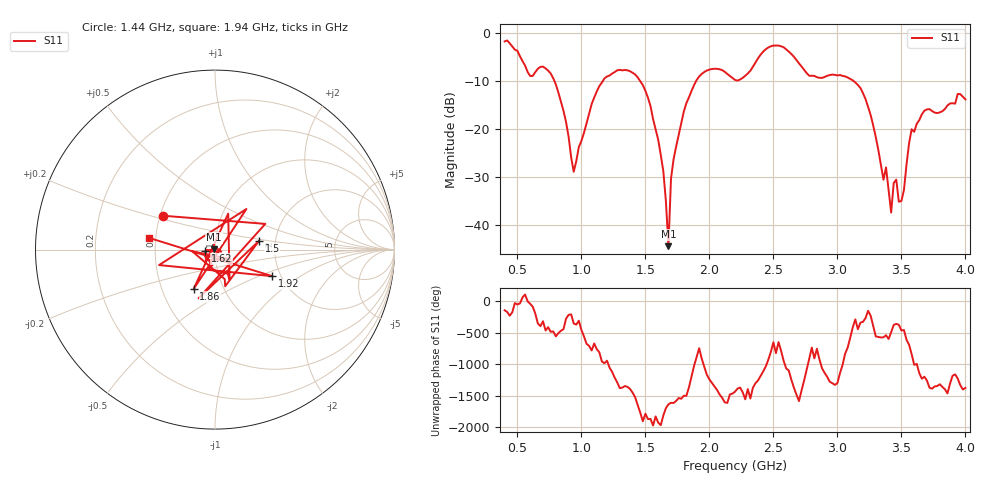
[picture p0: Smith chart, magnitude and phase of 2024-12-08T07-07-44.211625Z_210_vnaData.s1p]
!Created with skrf (http://scikit-rf.org).
# Hz S RI R 50.0
!freq ReS11 ImS11
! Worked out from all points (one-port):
!   181 points, 400 MHz to 4 GHz, reference 50 ohm
!   lowest |S11| = -44.3 dB at 1.68 GHz (marker M1), VSWR 1.01, Z = 49.4 + j0.196 ohm
!   |S11| at or under -10 dB: 789 MHz to 1.168 GHz (378.5 MHz wide, 38.7 % of centre); 1.459 GHz to 1.896 GHz (437.4 MHz wide, 26.1 % of centre); 3.126 GHz to end of sweep
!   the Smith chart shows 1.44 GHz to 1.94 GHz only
!   S11 on the Smith chart (normalised r, x): 1.44 GHz: 0.52, +0.22; 1.5 GHz: 1.64, +0.17; 1.62 GHz: 0.90, -0.01; 1.86 GHz: 0.72, -0.34; 1.92 GHz: 1.81, -0.61; 1.94 GHz: 0.46, +0.07
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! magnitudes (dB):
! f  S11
! 400 MHz  -1.8
! 760 MHz  -8.4
! 860 MHz  -16.2
! 940 MHz  -28.9
! 1.12 GHz  -12.2
! 1.3 GHz  -7.7
! 1.44 GHz  -9.3
! 1.5 GHz  -12.1
! 1.62 GHz  -25.4
! 1.68 GHz  -44.3
! 1.7 GHz  -30.3
! 1.76 GHz  -21.2
! 1.86 GHz  -12.1
! 1.92 GHz  -9.1
! 1.94 GHz  -8.5
! 2.2 GHz  -9.8
! 2.48 GHz  -2.8
! 2.66 GHz  -5.0
! 3.1 GHz  -9.6
! 3.26 GHz  -17.1
! 3.36 GHz  -30.5
! 3.38 GHz  -28.0
! 3.42 GHz  -37.4
! 3.46 GHz  -30.5
! 3.5 GHz  -35.0
! 3.56 GHz  -23.0
! 3.68 GHz  -16.2
! 4 GHz  -13.8
